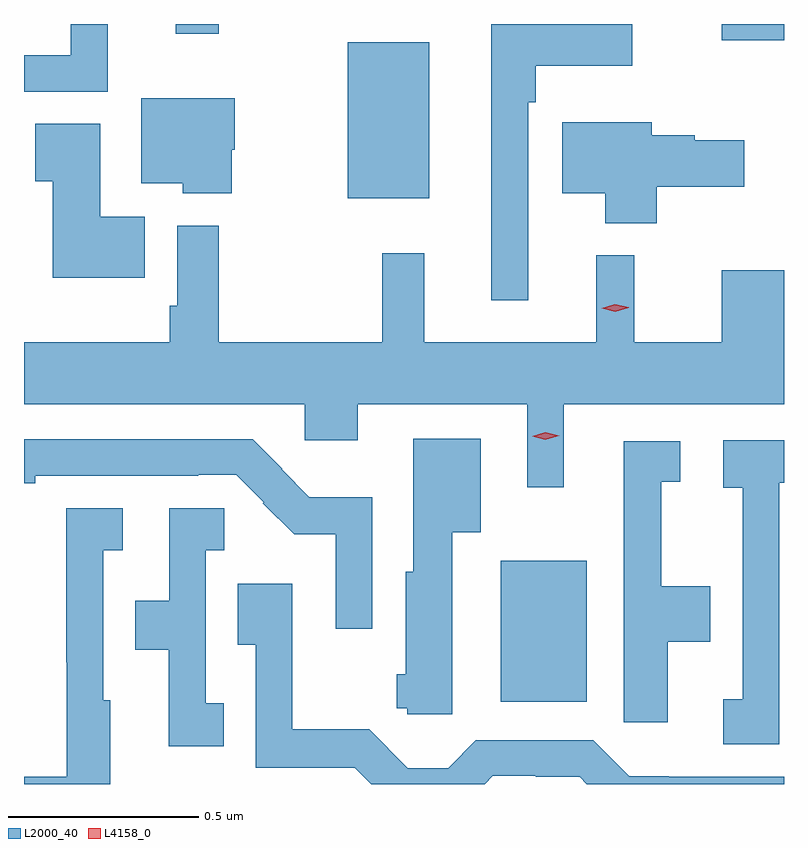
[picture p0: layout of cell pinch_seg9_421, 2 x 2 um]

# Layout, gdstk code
import gdstk
lib = gdstk.Library(unit=1e-6, precision=1e-09)
def R(c, l, rs):  # rectangles x0, y0, x1, y1
    for r in rs: c.add(gdstk.rectangle(r[:2], r[2:], *l))
def P(c, l, *ps):  # polygons
    for p in ps: c.add(gdstk.Polygon(p, *l))
L2000_40 = (2000, 40)
L4158_0 = (4158, 0)

pinch_seg9_421 = lib.new_cell('pinch_seg9_421')
R(pinch_seg9_421, L2000_40, [(320.27,1212.953,320.497,1213.324), (319.868,1214.279,320.083,1214.689), (320.852,1214.694,321.016,1214.737), (319.415,1214.712,319.529,1214.737)])
P(pinch_seg9_421, L2000_40, [(320.343,1214.531),(320.363,1214.531),(320.363,1214.627),(320.616,1214.627),(320.616,1214.737),(320.246,1214.737),(320.246,1214.01),(320.343,1214.01)],
  [(319.237,1214.737),(319.139,1214.737),(319.139,1214.655),(319.016,1214.655),(319.016,1214.559),(319.237,1214.559)],
  [(319.563,1214.406),(319.57,1214.406),(319.57,1214.542),(319.325,1214.542),(319.325,1214.318),(319.434,1214.318),(319.434,1214.291),(319.563,1214.291)],
  [(320.681,1214.309),(320.911,1214.309),(320.911,1214.431),(320.781,1214.431),(320.781,1214.444),(320.668,1214.444),(320.668,1214.479),(320.432,1214.479),(320.432,1214.291),(320.546,1214.291),(320.546,1214.213),(320.681,1214.213)],
  [(319.334,1214.23),(319.216,1214.23),(319.216,1214.474),(319.045,1214.474),(319.045,1214.323),(319.091,1214.323),(319.091,1214.069),(319.334,1214.069)],
  [(320.437,1213.736),(321.016,1213.736),(321.016,1214.089),(320.852,1214.089),(320.852,1213.9),(320.622,1213.9),(320.622,1214.128),(320.522,1214.128),(320.522,1213.9),(320.069,1213.9),(320.069,1214.134),(319.959,1214.134),(319.959,1213.9),(319.528,1213.9),(319.528,1214.206),(319.419,1214.206),(319.419,1213.996),(319.399,1213.996),(319.399,1213.9),(319.016,1213.9),(319.016,1213.736),(319.755,1213.736),(319.755,1213.641),(319.894,1213.641),(319.894,1213.736),(320.34,1213.736),(320.34,1213.518),(320.437,1213.518)],
  [(320.143,1213.4),(320.218,1213.4),(320.218,1213.645),(320.04,1213.645),(320.04,1213.296),(320.021,1213.296),(320.021,1213.026),(319.997,1213.026),(319.997,1212.936),(320.025,1212.936),(320.025,1212.921),(320.143,1212.921)],
  [(319.932,1213.492),(319.767,1213.492),(319.694,1213.565),(319.696,1213.567),(319.618,1213.644),(319.016,1213.644),(319.016,1213.528),(319.045,1213.528),(319.045,1213.548),(319.475,1213.548),(319.475,1213.551),(319.575,1213.551),(319.647,1213.479),(319.644,1213.476),(319.727,1213.394),(319.836,1213.394),(319.836,1213.146),(319.932,1213.146)],
  [(321.003,1212.949),(321.004,1212.949),(321.004,1213.53),(321.016,1213.53),(321.016,1213.641),(320.856,1213.641),(320.856,1213.517),(320.907,1213.517),(320.907,1212.96),(320.856,1212.96),(320.856,1212.841),(321.003,1212.841)],
  [(320.71,1213.111),(320.822,1213.111),(320.822,1213.258),(320.693,1213.258),(320.693,1213.533),(320.743,1213.533),(320.743,1213.639),(320.594,1213.639),(320.594,1212.9),(320.71,1212.9)],
  [(319.243,1212.957),(319.224,1212.957),(319.224,1213.352),(319.276,1213.352),(319.276,1213.463),(319.127,1213.463),(319.127,1213.057),(319.128,1213.057),(319.128,1212.756),(319.016,1212.756),(319.016,1212.737),(319.243,1212.737)],
  [(319.541,1212.95),(319.494,1212.95),(319.494,1213.352),(319.543,1213.352),(319.543,1213.463),(319.398,1213.463),(319.398,1213.219),(319.309,1213.219),(319.309,1213.09),(319.397,1213.09),(319.397,1212.837),(319.541,1212.837)],
  [(320.25,1212.759),(320.363,1212.759),(320.363,1212.756),(320.478,1212.756),(320.497,1212.737),(321.016,1212.737),(321.016,1212.756),(320.713,1212.756),(320.713,1212.757),(320.609,1212.757),(320.514,1212.852),(320.205,1212.852),(320.132,1212.779),(320.026,1212.779),(319.924,1212.881),(319.722,1212.881),(319.722,1213.264),(319.579,1213.264),(319.579,1213.103),(319.626,1213.103),(319.626,1212.78),(319.887,1212.78),(319.93,1212.737),(320.228,1212.737)])
P(pinch_seg9_421, L4158_0, [(320.388,1213.643),(320.353,1213.652),(320.353,1213.652),(320.353,1213.652),(320.388,1213.663),(320.424,1213.654),(320.424,1213.654),(320.424,1213.653)],
  [(320.572,1213.98),(320.536,1213.989),(320.536,1213.989),(320.536,1213.989),(320.571,1214),(320.607,1213.991),(320.607,1213.991),(320.607,1213.99)])

lib.write_gds('pinch_seg9_421.gds')
